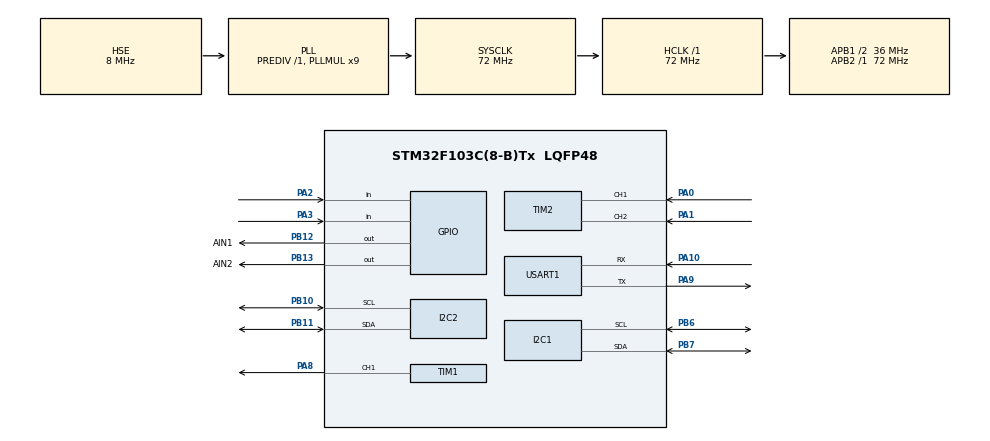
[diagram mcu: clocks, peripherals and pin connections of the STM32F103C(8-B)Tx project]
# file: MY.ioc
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I2C1.I2C_Mode=I2C_Fast
I2C2.I2C_Mode=I2C_Fast
Mcu.Family=STM32F1
Mcu.Name=STM32F103C(8-B)Tx
Mcu.Package=LQFP48
NVIC.PriorityGroup=NVIC_PRIORITYGROUP_4
NVIC.USART1_IRQn=true\:0\:0\:false\:false\:true\:true\:true\:true
PA0-WKUP.Signal=S_TIM2_CH1_ETR
PA1.Signal=S_TIM2_CH2
PA10.Mode=Asynchronous
PA10.Signal=USART1_RX
PA13.Mode=Serial_Wire
PA13.Signal=SYS_JTMS-SWDIO
PA14.Mode=Serial_Wire
PA14.Signal=SYS_JTCK-SWCLK
PA2.GPIO_PuPd=GPIO_PULLUP
PA2.Signal=GPIO_Input
PA3.GPIO_PuPd=GPIO_PULLUP
PA3.Signal=GPIO_Input
PA8.Signal=S_TIM1_CH1
PA9.Mode=Asynchronous
PA9.Signal=USART1_TX
PB10.Mode=I2C
PB10.Signal=I2C2_SCL
PB11.Mode=I2C
PB11.Signal=I2C2_SDA
PB12.GPIO_Label=AIN1
PB12.Signal=GPIO_Output
PB13.GPIO_Label=AIN2
PB13.Signal=GPIO_Output
PB6.Mode=I2C
PB6.Signal=I2C1_SCL
PB7.Mode=I2C
PB7.Signal=I2C1_SDA
PD0-OSC_IN.Mode=HSE-External-Oscillator
PD0-OSC_IN.Signal=RCC_OSC_IN
PD1-OSC_OUT.Mode=HSE-External-Oscillator
PD1-OSC_OUT.Signal=RCC_OSC_OUT
ProjectManager.HeapSize=0x200
ProjectManager.StackSize=0x400
ProjectManager.TargetToolchain=CMake
RCC.AHBFreq_Value=72000000
RCC.APB1CLKDivider=RCC_HCLK_DIV2
RCC.APB1Freq_Value=36000000
RCC.APB1TimFreq_Value=72000000
RCC.APB2Freq_Value=72000000
RCC.APB2TimFreq_Value=72000000
RCC.HCLKFreq_Value=72000000
RCC.PLLMUL=RCC_PLL_MUL9
RCC.PLLSourceVirtual=RCC_PLLSOURCE_HSE
RCC.SYSCLKFreq_VALUE=72000000
RCC.SYSCLKSource=RCC_SYSCLKSOURCE_PLLCLK
RCC.USBFreq_Value=72000000
SH.S_TIM1_CH1.0=TIM1_CH1,PWM Generation1 CH1
SH.S_TIM2_CH1_ETR.0=TIM2_CH1,Encoder_Interface
SH.S_TIM2_CH2.0=TIM2_CH2,Encoder_Interface
TIM1.Channel-PWM\ Generation1\ CH1=TIM_CHANNEL_1
TIM1.Period=99
TIM1.Prescaler=71
TIM2.EncoderMode=TIM_ENCODERMODE_TI12
USART1.VirtualMode=VM_ASYNC
board=custom

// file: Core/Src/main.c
/* USER CODE BEGIN Header */
/**
  ******************************************************************************
  * @file           : main.c
  * @brief          : Main program body
  ******************************************************************************
  * @attention
  *
  * Copyright (c) 2026 STMicroelectronics.
  * All rights reserved.
  *
  * This software is licensed under terms that can be found in the LICENSE file
  * in the root directory of this software component.
  * If no LICENSE file comes with this software, it is provided AS-IS.
  *
  ******************************************************************************
  */
/* USER CODE END Header */
#include "main.h"
#include "i2c.h"
#include "tim.h"
#include "usart.h"
#include "gpio.h"

/* USER CODE BEGIN Includes */
#include <math.h>
#include <stdio.h>
#include <stdlib.h>

#include "key.h"
#include "motor.h"
#include "encoder.h"
#include "ins.h"
#include "oled.h"
/* USER CODE END Includes */

/* USER CODE BEGIN PV */
static float key_ang[4] = {0, 10, 30, 60};
static float key_spd[7] = {0, 30, 60, 100, -30, -60, -100};

static int     ang_i = 0;
static int     spd_i = 0;
static uint8_t mode  = 0;

static float a_sum  = 0.0f;
static float a_last = 0.0f;
static float s_sum  = 0.0f;
static float s_last = 0.0f;

static float ang_zero = 0.0f;                    //上电零点
static float ang_now  = 0.0f;                    //实际角度
static float ang_tar  = 0.0f;                    //目标角度(°)
static float spd_now  = 0.0f;                    //实际转速
static float spd_tar  = 0.0f;                    //目标转速
static float pwm_out  = 0.0f;                    //PWM 输出

static uint8_t  rx_byte  = 0;                    //串口刚收到的字节
static char     rx_buf[16];                      //VOFA 下命令
static uint8_t  rx_len   = 0;                    //已有字节数
static volatile uint8_t rx_ready = 0;            //收到一整行再处理
static uint32_t vofa_tick = 0;
/* USER CODE END PV */

void SystemClock_Config(void);
/* USER CODE BEGIN PFP */
static float get_angle(void);
static float angle_pid(float target, float now, float dt);
static float speed_pid(float target, float now, float dt);
static void  pid_reset(void);
static float wrap180(float a);
static void  zroe_angle(void);
static void  show(void);
static void  vofa_send(void);
static void  vofa_cmd(void);
/* USER CODE END PFP */

int main(void)
{

  /* MCU Configuration--------------------------------------------------------*/

  /* Reset of all peripherals, Initializes the Flash interface and the Systick. */
  HAL_Init();

  /* Configure the system clock */
  SystemClock_Config();

  /* Initialize all configured peripherals */
  MX_GPIO_Init();
  MX_I2C1_Init();
  MX_I2C2_Init();
  MX_TIM1_Init();
  MX_TIM2_Init();
  MX_USART1_UART_Init();
  /* USER CODE BEGIN 2 */
  int key = 0;
  uint32_t ctrl_tick = 0;
  uint32_t show_tick = 0;

  Encoder_Init();
  Motor_Init();

  HAL_Delay(20);
  OLED_Init();
  OLED_NewFrame();
  OLED_PrintASCIIString(0, 24, "I AM BACK", &afont12x6, OLED_COLOR_NORMAL);
  OLED_ShowFrame();

  ins_init();
  zroe_angle();

  HAL_UART_Receive_IT(&huart1, &rx_byte, 1);

  ctrl_tick = HAL_GetTick();
  show_tick = ctrl_tick;
  vofa_tick = ctrl_tick;
  /* USER CODE END 2 */

  /* Infinite loop */
  /* USER CODE BEGIN WHILE */
  while (1)
  {
//按键
    key = key_scan();

    if (key == 1)
    {
        mode = 1;
        spd_i = (spd_i + 1) % 7;
        spd_tar = key_spd[spd_i];
        pid_reset();
    }
    else if (key == 4)
    {
        mode = 0;
        pid_reset();
    }
    else if (key == 2)
    {
        mode = 0;
        ang_i = (ang_i + 1) % 4;
        ang_tar = key_ang[ang_i];
        pid_reset();
    }
    else if (key == 3)
    {
        mode = 0;
        ang_i = 0;
        ang_tar = key_ang[0];
        pid_reset();
    }

    uint32_t tick = HAL_GetTick();
    if (tick - ctrl_tick >= 10)
    {
        float dt = (tick - ctrl_tick) / 1000.0f;

        ctrl_tick = tick;

        ins_update();
        ang_now = get_angle();
        spd_now = get_speed();

        if (mode == 0)
        {
            //速度内环没有加，我看电机上下乱晃，好像积分到 ±100，
            //角度环自己带积分和微分，o了。
            pwm_out = angle_pid(ang_tar, ang_now, dt);
            spd_tar = 0.0f;
            Motor_open(pwm_out);
        }
        else
        {
            pwm_out = speed_pid(spd_tar, spd_now, dt);
            Motor_open(pwm_out);
        }
    }

    vofa_cmd();

    if (tick - vofa_tick >= 50)
    {
        vofa_tick = tick;
        vofa_send();
    }

    if (tick - show_tick >= 200)
    {
        show_tick = tick;
        show();
    }

    /* USER CODE END WHILE */

  }
}

void SystemClock_Config(void)
{
  RCC_OscInitTypeDef RCC_OscInitStruct = {0};
  RCC_ClkInitTypeDef RCC_ClkInitStruct = {0};

  /** Initializes the RCC Oscillators according to the specified parameters
  * in the RCC_OscInitTypeDef structure.
  */
  RCC_OscInitStruct.OscillatorType = RCC_OSCILLATORTYPE_HSE;
  RCC_OscInitStruct.HSEState = RCC_HSE_ON;
  RCC_OscInitStruct.HSEPredivValue = RCC_HSE_PREDIV_DIV1;
  RCC_OscInitStruct.HSIState = RCC_HSI_ON;
  RCC_OscInitStruct.PLL.PLLState = RCC_PLL_ON;
  RCC_OscInitStruct.PLL.PLLSource = RCC_PLLSOURCE_HSE;
  RCC_OscInitStruct.PLL.PLLMUL = RCC_PLL_MUL9;
  if (HAL_RCC_OscConfig(&RCC_OscInitStruct) != HAL_OK)
  {
    Error_Handler();
  }

  /** Initializes the CPU, AHB and APB buses clocks
  */
  RCC_ClkInitStruct.ClockType = RCC_CLOCKTYPE_HCLK|RCC_CLOCKTYPE_SYSCLK
                              |RCC_CLOCKTYPE_PCLK1|RCC_CLOCKTYPE_PCLK2;
  RCC_ClkInitStruct.SYSCLKSource = RCC_SYSCLKSOURCE_PLLCLK;
  RCC_ClkInitStruct.AHBCLKDivider = RCC_SYSCLK_DIV1;
  RCC_ClkInitStruct.APB1CLKDivider = RCC_HCLK_DIV2;
  RCC_ClkInitStruct.APB2CLKDivider = RCC_HCLK_DIV1;

  if (HAL_RCC_ClockConfig(&RCC_ClkInitStruct, FLASH_LATENCY_2) != HAL_OK)
  {
    Error_Handler();
  }
}

/* USER CODE BEGIN 4 */

static void vofa_send(void)
{
    static const uint8_t tail[4] = {0x00, 0x00, 0x80, 0x7F};
    float data[5];

    data[0] = ang_tar;      //目标角度
    data[1] = ang_now;      //实际角度
    data[2] = spd_tar;      //目标速度
    data[3] = spd_now;      //实际速度
    data[4] = pwm_out;      //PWM

    HAL_UART_Transmit(&huart1, (uint8_t *)data, sizeof(data), 100);
    HAL_UART_Transmit(&huart1, (uint8_t *)tail, sizeof(tail), 100);
}

//VOFA
static void vofa_cmd(void)
{
    char  c;
    char *p;

    if (rx_ready == 0)
    {
        return;
    }

    c = rx_buf[0];
    if (c >= 'a' && c <= 'z')
    {
        c = (char)(c - 'a' + 'A');
    }

    p = rx_buf + 1;
    if (*p == '=' || *p == ':')
    {
        p++;
    }

    if (c == 'A' && *p != '\0')
    {
        ang_tar = (float)atof(p);
        if (ang_tar > 75.0f)  { ang_tar = 75.0f; }
        if (ang_tar < -75.0f) { ang_tar = -75.0f; }
        mode = 0;
        pid_reset();
    }
    else if (c == 'Z')
    {
        ang_zero = ins_data()->roll;
        pid_reset();
    }

    rx_ready = 0;
}

void HAL_UART_RxCpltCallback(UART_HandleTypeDef *huart)
{
    if (huart==&huart1)
    {
        if (rx_byte == '\n' || rx_byte == '\r')
        {
            if (rx_len > 0)
            {
                rx_buf[rx_len] = '\0';
                rx_ready = 1;
            }
            rx_len = 0;
        }
        else if (rx_ready == 0 && rx_len < sizeof(rx_buf) - 1)
        {
            rx_buf[rx_len] = (char)rx_byte;
            rx_len++;
        }

        HAL_UART_Receive_IT(&huart1, &rx_byte, 1);
    }
}

void HAL_UART_ErrorCallback(UART_HandleTypeDef *huart)
{
    if (huart==&huart1)
    {
        HAL_UART_Receive_IT(&huart1, &rx_byte, 1);
    }
}

static float get_angle(void)
{
    return wrap180(ins_data()->roll - ang_zero);
}

static float wrap180(float a)
{
    while (a > 180.0f)  { a = a - 360.0f; }
    while (a < -180.0f) { a = a + 360.0f; }
    return a;
}

static void zroe_angle(void)
{
    int i;

    for (i = 0; i < 100; i++)
    {
        ins_update();
        HAL_Delay(10);
    }

    ang_zero = ins_data()->roll;

    ang_i   = 0;
    spd_i   = 0;
    mode    = 0;
    ang_tar = key_ang[0];
    ang_now = 0.0f;
    spd_tar = 0.0f;
    pwm_out = 0.0f;
    pid_reset();
    Motor_open(0.0f);
}

//OLED 四行：模式/目标/实际、误差、转速、PWM
static void show(void)
{
    char line[48];
    int  tgt;
    int  act;
    int  err;
    int  s_tgt;
    int  s_act;

    if (mode == 0)
    {
        tgt = (int)ang_tar;
        act = (int)ang_now;
        err = (int)wrap180(ang_tar - ang_now);
    }
    else
    {
        tgt = (int)spd_tar;
        act = (int)spd_now;
        err = (int)(spd_tar - spd_now);
    }

    s_tgt = (int)spd_tar;
    s_act = (int)spd_now;

    OLED_NewFrame();

    if (mode == 0)
    {
        snprintf(line, sizeof(line), "ANG T:%d A:%d", tgt, act);
    }
    else
    {
        snprintf(line, sizeof(line), "SPD T:%d A:%d", tgt, act);
    }
    OLED_PrintASCIIString(0, 0, line, &afont12x6, OLED_COLOR_NORMAL);

    snprintf(line, sizeof(line), "ERR:%d", err);
    OLED_PrintASCIIString(0, 16, line, &afont12x6, OLED_COLOR_NORMAL);

    snprintf(line, sizeof(line), "SPD:%d/%d", s_tgt, s_act);
    OLED_PrintASCIIString(0, 32, line, &afont12x6, OLED_COLOR_NORMAL);

    snprintf(line, sizeof(line), "PWM:%d", (int)pwm_out);
    OLED_PrintASCIIString(0, 48, line, &afont12x6, OLED_COLOR_NORMAL);

    OLED_ShowFrame();
}

static float angle_pid(float target, float now, float dt)
{
    float err = target - now;
    float out;

    a_sum = a_sum + err * dt;
    if (a_sum > 80.0f)  { a_sum = 80.0f; }
    if (a_sum < -80.0f) { a_sum = -80.0f; }

    out = 3.0f * err + 0.4f * a_sum - 0.07f * (now - a_last) / dt;
    a_last = now;

    if (out > 80.0f)  { out = 80.0f; }
    if (out < -80.0f) { out = -80.0f; }
    return out;
}

static float speed_pid(float target, float now, float dt)
{
    float err = target - now;
    float out;

    s_sum = s_sum + err * dt;
    if (s_sum > 100.0f)  { s_sum = 100.0f; }
    if (s_sum < -100.0f) { s_sum = -100.0f; }

    out = 1.0f * err + 1.5f * s_sum - 0.0f * (now - s_last) / dt;
    s_last = now;

    if (out > 100.0f)  { out = 100.0f; }
    if (out < -100.0f) { out = -100.0f; }
    return out;
}

static void pid_reset(void)
{
    a_sum  = 0.0f;
    s_sum  = 0.0f;
    a_last = get_angle();
    s_last = get_speed();
}
/* USER CODE END 4 */

void Error_Handler(void)
{
  __disable_irq();
  while (1)
  {
  }
}
